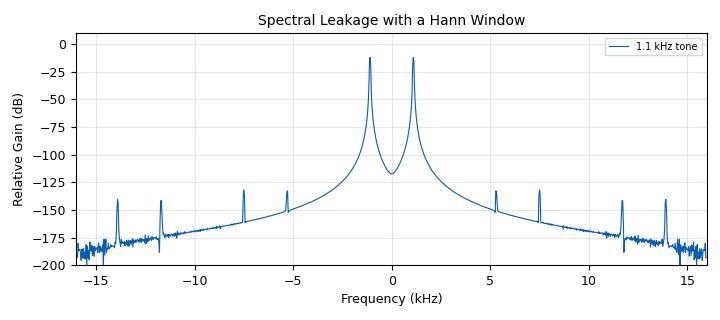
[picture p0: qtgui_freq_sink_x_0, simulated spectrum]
options:
  parameters:
    author: Dhrubjun
    generate_options: qt_gui
    id: exp4
    output_language: python
    title: FFT Window Comparison
  states: {}

blocks:
- name: samp_rate
  id: variable
  parameters:
    value: '32000'
  states: {}
- name: analog_sig_source_x_0
  id: analog_sig_source_x
  parameters:
    amp: '1'
    freq: '1100'
    offset: '0'
    phase: '0'
    samp_rate: samp_rate
    type: float
    waveform: analog.GR_COS_WAVE
  states: {}
- name: blocks_throttle2_0
  id: blocks_throttle2
  parameters:
    samples_per_second: samp_rate
    type: float
  states: {}
- name: qtgui_freq_sink_x_0
  id: qtgui_freq_sink_x
  parameters:
    bw: samp_rate
    color1: '"red"'
    fc: '0'
    fftsize: '1024'
    grid: 'True'
    label1: 1.1 kHz tone
    name: Spectral Leakage with a Hann Window
    type: float
    wintype: window.WIN_HANN
    ymin: '-200'
  states: {}

connections:
- [analog_sig_source_x_0, '0', blocks_throttle2_0, '0']
- [blocks_throttle2_0, '0', qtgui_freq_sink_x_0, '0']

metadata:
  file_format: 1
  grc_version: 3.10.12.0
